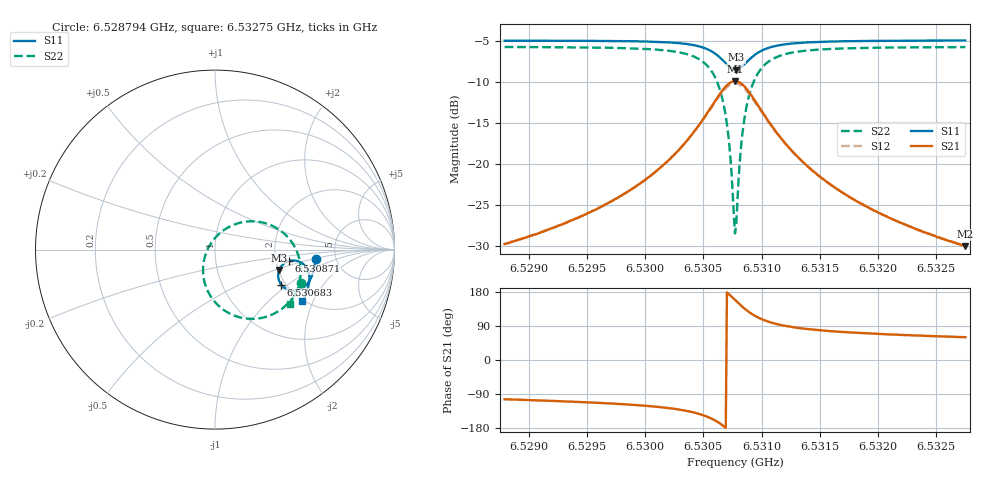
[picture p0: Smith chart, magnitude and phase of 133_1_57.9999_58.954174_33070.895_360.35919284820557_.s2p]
#  HZ  S  RI  R  50.00
! Rohde & Schwarz Vector Network Analyzer
! Rohde-Schwarz,ZNB20-2Port,1311601062101988,3.16
! Created: UTC 3/21/2024, 12:56:12 AM
! freq[Hz]  re:S11  im:S11  re:S21  im:S21  re:S12  im:S12  re:S22  im:S22
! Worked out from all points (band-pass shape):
!   401 points, 6.528794 GHz to 6.53275 GHz, reference 50 ohm
!   highest |S21| = -9.91 dB at 6.530772 GHz (marker M1); lowest = -30.0 dB at 6.53275 GHz (marker M2)
!   |S21| within 3 dB of the highest: 6.530575 GHz to 6.530971 GHz (396.1 kHz wide, 0.00607 % of centre)
!   lowest |S11| = -8.5 dB at 6.530782 GHz (marker M3), VSWR 2.20, Z = 101 - j26.7 ohm
!   |S11| at or under -10 dB: nowhere
!   |S22| runs from -28.5 to -5.8 dB; largest |S21 - S12| = 0.013
!   S11 on the Smith chart (normalised r, x): 6.528794 GHz: 3.49, -0.54; 6.530683 GHz: 1.89, -0.89; 6.530871 GHz: 2.36, -0.37; 6.53275 GHz: 1.97, -1.66
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6.5287943e9  0.5606 -0.0532  -0.00768 -0.0316  -0.00833 -0.0313  0.4816 -0.1837
6.5294569e9  0.5512 -0.1092  -0.0174 -0.0449  -0.0185 -0.0445  0.4493 -0.2464
6.5297931e9  0.5416 -0.1412  -0.0284 -0.0571  -0.0299 -0.0565  0.4193 -0.2863
6.5301194e9  0.5241 -0.1775  -0.0522 -0.0771  -0.0545 -0.0758  0.3643 -0.3357
6.5303468e9  0.497 -0.2079  -0.0934 -0.0978  -0.0964 -0.0943  0.2805 -0.3757
6.5305149e9  0.4522 -0.228  -0.1642 -0.1049  -0.1668 -0.0978  0.1497 -0.3803
6.5306138e9  0.4056 -0.223  -0.2368 -0.0778  -0.236 -0.0674  0.0283 -0.3205
6.530683e9  0.3689 -0.1949  -0.2903 -0.0171  -0.2842 -0.0065  -0.0501 -0.2078
6.5307226e9  0.3547 -0.1659  -0.3072 0.0376  -0.2977 0.0464  -0.0668 -0.1135
6.5307621e9  0.3531 -0.131  -0.3028 0.1006  -0.2911 0.1056  -0.0468 -0.0113
6.530772e9  0.355 -0.1223  -0.2976 0.1161  -0.2857 0.12  -0.0354 0.013
6.5307819e9  0.3578 -0.1136  -0.2911 0.1311  -0.2792 0.1338  -0.0218 0.036
6.5307918e9  0.3614 -0.1055  -0.283 0.1452  -0.2713 0.1469  -0.00608 0.0576
6.5308314e9  0.3835 -0.0789  -0.2402 0.1906  -0.2303 0.1888  0.0729 0.1234
6.5308709e9  0.4114 -0.0641  -0.1896 0.215  -0.1821 0.2117  0.1609 0.1542
6.5309401e9  0.4563 -0.0627  -0.1111 0.2176  -0.1073 0.2143  0.2927 0.1431
6.531039e9  0.496 -0.0846  -0.0434 0.1859  -0.0418 0.184  0.4021 0.0731
6.5311873e9  0.5195 -0.1209  -0.00239 0.1377  -0.000997 0.1369  0.462 -0.0257
6.5314345e9  0.5263 -0.1647  0.0154 0.09  0.0165 0.0897  0.4775 -0.1259
6.5317213e9  0.5215 -0.2  0.0184 0.0624  0.0195 0.062  0.468 -0.1911
6.5320971e9  0.5104 -0.2358  0.018 0.0433  0.0188 0.0431  0.4492 -0.2442
6.5327497e9  0.4869 -0.2864  0.0157 0.0273  0.0162 0.0271  0.4152 -0.304
